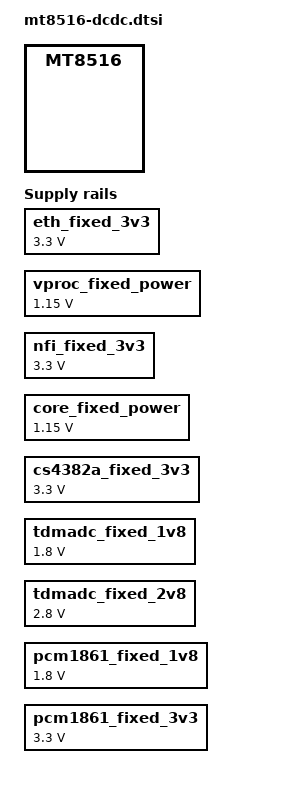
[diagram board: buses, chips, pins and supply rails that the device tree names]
/*
 * Mediatek's PMIC MT6392 device tree source
 * Copyright (c) 2016 MediaTek Inc.
 *
 * This program is free software; you can redistribute it and/or modify
 * it under the terms of the GNU General Public License version 2 as
 * published by the Free Software Foundation.
 *
 * This program is distributed in the hope that it will be useful,
 * MERCHANTABILITY or FITNESS FOR A PARTICULAR PURPOSE.  See the
 * GNU General Public License for more details.
 */

/ {
	eth_fixed_3v3: fixedregulator@4 {
		compatible = "regulator-fixed";
		regulator-name = "eth_power";
		regulator-min-microvolt = <3300000>;
		regulator-max-microvolt = <3300000>;
	};

	vproc_fixed_power: fixedregulator@5 {
		compatible = "regulator-fixed";
		regulator-name = "vproc_power";
		regulator-min-microvolt = <1150000>;
		regulator-max-microvolt = <1150000>;
	};

	nfi_fixed_3v3: fixedregulator@6 {
		compatible = "regulator-fixed";
		regulator-name = "nfi_power";
		regulator-min-microvolt = <3300000>;
		regulator-max-microvolt = <3300000>;
	};

	core_fixed_power: fixedregulator@7 {
		compatible = "regulator-fixed";
		regulator-name = "core_power";
		regulator-min-microvolt = <1150000>;
		regulator-max-microvolt = <1150000>;
	};

	cs4382a_fixed_3v3: fixedregulator@8 {
		compatible = "regulator-fixed";
		regulator-name = "cs4382a_3v3_power";
		regulator-min-microvolt = <3300000>;
		regulator-max-microvolt = <3300000>;
	};

	tdmadc_fixed_1v8: fixedregulator@9 {
		compatible = "regulator-fixed";
		regulator-name = "tdmadc_1v8__power";
		regulator-min-microvolt = <1800000>;
		regulator-max-microvolt = <1800000>;
	};

	tdmadc_fixed_2v8: fixedregulator@10 {
		compatible = "regulator-fixed";
		regulator-name = "tdmadc_2v8__power";
		regulator-min-microvolt = <2800000>;
		regulator-max-microvolt = <2800000>;
	};

	pcm1861_fixed_1v8: fixedregulator@11 {
		compatible = "regulator-fixed";
		regulator-name = "pcm1861_1v8__power";
		regulator-min-microvolt = <1800000>;
		regulator-max-microvolt = <1800000>;
	};

	pcm1861_fixed_3v3: fixedregulator@12 {
		compatible = "regulator-fixed";
		regulator-name = "pcm1861_3v3__power";
		regulator-min-microvolt = <3300000>;
		regulator-max-microvolt = <3300000>;
	};


};
